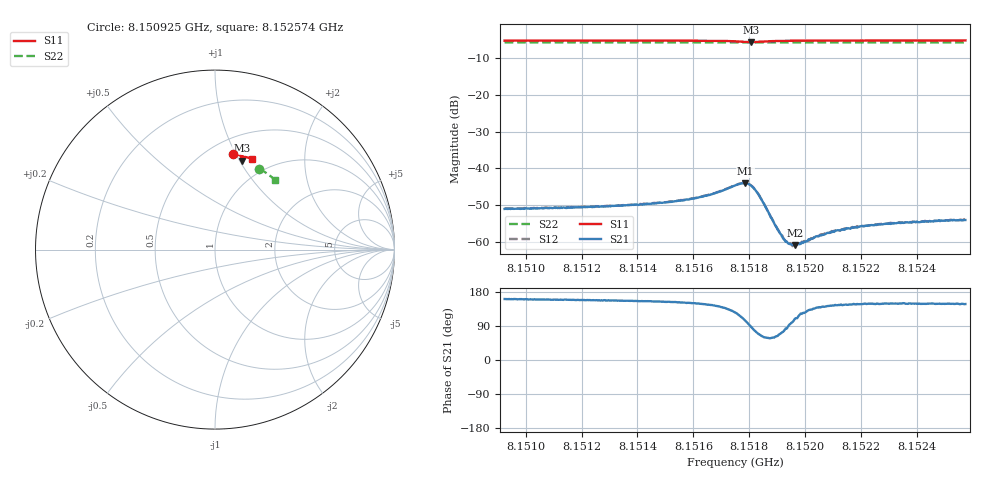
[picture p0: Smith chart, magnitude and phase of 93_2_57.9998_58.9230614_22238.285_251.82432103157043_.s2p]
#  HZ  S  RI  R  50.00
! Rohde & Schwarz Vector Network Analyzer
! Rohde-Schwarz,ZNB20-2Port,1311601062101988,3.16
! Created: UTC 3/21/2024, 12:54:23 AM
! freq[Hz]  re:S11  im:S11  re:S21  im:S21  re:S12  im:S12  re:S22  im:S22
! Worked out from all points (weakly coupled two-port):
!   401 points, 8.150925 GHz to 8.152574 GHz, reference 50 ohm
!   highest |S21| = -43.97 dB at 8.151786 GHz (marker M1); lowest = -60.9 dB at 8.151963 GHz (marker M2)
!   lowest |S11| = -5.7 dB at 8.151807 GHz (marker M3), VSWR 3.15, Z = 37.8 + j51.1 ohm
!   |S11| at or under -10 dB: nowhere
!   |S22| runs from -5.8 to -5.8 dB; largest |S21 - S12| = 0.00013
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8.1509247e9  0.0982 0.5336  -0.00267 0.000923  -0.00269 0.000992  0.2466 0.4515
8.1512009e9  0.1179 0.53  -0.00276 0.0011  -0.00277 0.0012  0.2618 0.4422
8.1514771e9  0.1386 0.5249  -0.00307 0.00147  -0.00307 0.00154  0.2768 0.4326
8.1515801e9  0.1473 0.522  -0.00331 0.00183  -0.00332 0.0019  0.2824 0.4288
8.1516378e9  0.1526 0.5193  -0.00354 0.00226  -0.00357 0.00233  0.2854 0.4267
8.1516873e9  0.1575 0.5156  -0.00374 0.00291  -0.00374 0.00301  0.2882 0.4246
8.1517491e9  0.1621 0.5052  -0.00342 0.00477  -0.00337 0.00485  0.2913 0.422
8.1517862e9  0.1568 0.4963  -0.00153 0.00614  -0.00142 0.00619  0.2927 0.4204
8.1518068e9  0.1493 0.4957  0.000277 0.00585  0.000342 0.00587  0.2934 0.4199
8.1518192e9  0.1455 0.4979  0.00112 0.00513  0.00119 0.00512  0.294 0.4195
8.1518357e9  0.1428 0.5028  0.00163 0.00396  0.0017 0.00399  0.2949 0.4191
8.1518975e9  0.1487 0.5148  0.000731 0.00142  0.00076 0.00141  0.2983 0.4172
8.1519181e9  0.1518 0.5161  0.000346 0.00113  0.000379 0.00117  0.2995 0.4165
8.1519387e9  0.1545 0.5169  2.93e-05 0.000961  2.97e-06 0.000987  0.3005 0.4157
8.1519511e9  0.1561 0.517  -0.000133 0.000927  -0.000108 0.000937  0.3011 0.4153
8.1519635e9  0.1575 0.5171  -0.000292 0.000856  -0.000267 0.0009  0.3019 0.4146
8.1520088e9  0.1625 0.5171  -0.000669 0.000795  -0.000648 0.000811  0.3043 0.4131
8.1520253e9  0.1641 0.5169  -0.000767 0.00081  -0.000753 0.000817  0.3051 0.4124
8.1520624e9  0.1675 0.5164  -0.000977 0.00079  -0.000959 0.000845  0.3071 0.4108
8.1521448e9  0.1743 0.5149  -0.00125 0.000838  -0.00127 0.000857  0.3112 0.4075
8.1523015e9  0.1861 0.5115  -0.00154 0.000944  -0.00154 0.000958  0.3192 0.4012
8.1525735e9  0.2048 0.5051  -0.00169 0.00107  -0.00171 0.00108  0.3324 0.3898
